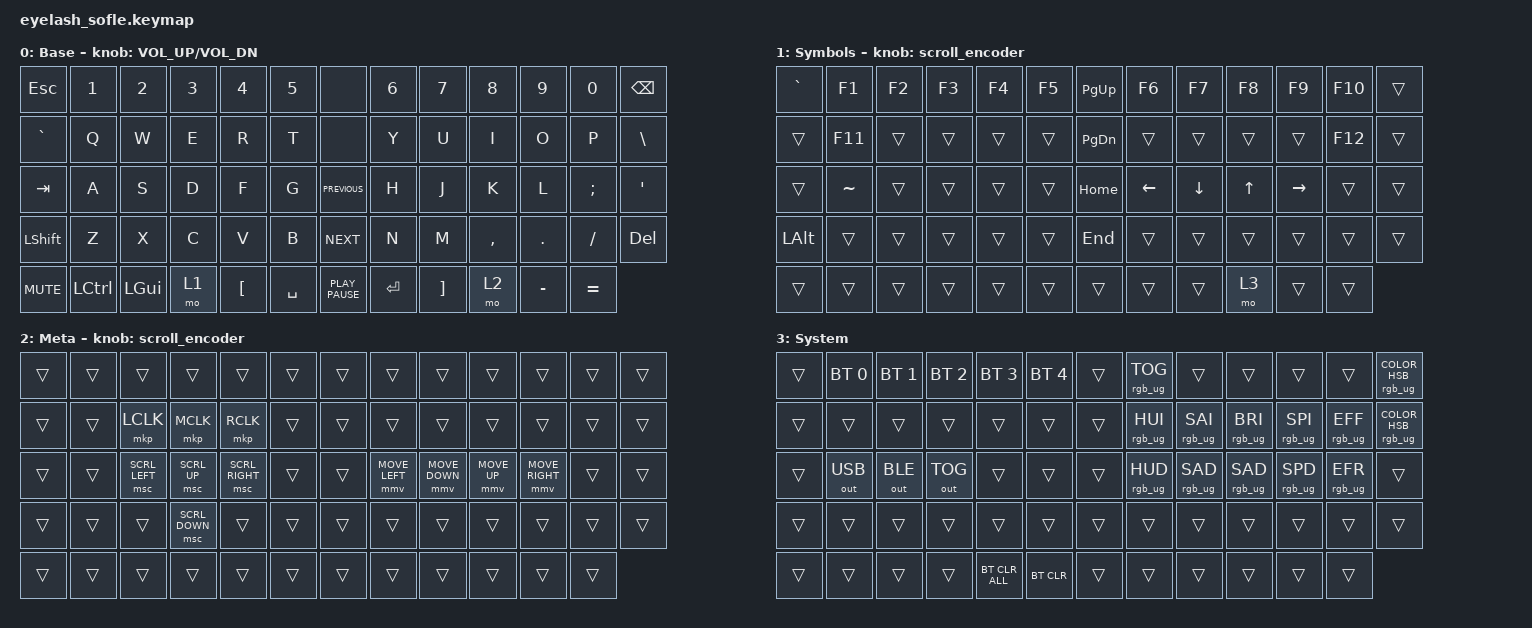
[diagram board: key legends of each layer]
#define ZMK_POINTING_DEFAULT_MOVE_VAL 1200  // 600
#define ZMK_POINTING_DEFAULT_SCRL_VAL 25    // 10

#include <input/processors.dtsi>
#include <zephyr/dt-bindings/input/input-event-codes.h>
#include <behaviors.dtsi>
#include <dt-bindings/zmk/bt.h>
#include <dt-bindings/zmk/keys.h>
#include <dt-bindings/zmk/outputs.h>
#include <dt-bindings/zmk/pointing.h>
#include <dt-bindings/zmk/rgb.h>

&mmv_input_listener { input-processors = <&zip_xy_scaler 2 1>; };

&msc_input_listener { input-processors = <&zip_scroll_scaler 2 1>; };

&msc {
    acceleration-exponent = <1>;      // 0
    time-to-max-speed-ms = <100>;       // 300
    delay-ms = <0>;                   // 0
};

&mmv {
    time-to-max-speed-ms = <500>;
    acceleration-exponent = <1>;
    trigger-period-ms = <16>;
};

/ {
    scroll_encoder: scroll_encoder {
        compatible = "zmk,behavior-sensor-rotate";
        #sensor-binding-cells = <0>;
        bindings = <&msc SCRL_DOWN>, <&msc SCRL_UP>;

        tap-ms = <100>;
    };

    hold_tap: hold_tap {
        compatible = "zmk,behavior-hold-tap";
        label = "HOLD_TAP";
        bindings = <&kp>, <&kp>;

        #binding-cells = <2>;
        flavor = "tap-preferred";
        tapping-term-ms = <250>;
    };

    behaviors {
    };

    keymap {
        compatible = "zmk,keymap";

        Base {
            bindings = <
&kp ESC     &kp N1     &kp N2        &kp N3  &kp N4            &kp N5       &none             &kp N6     &kp N7             &kp N8     &kp N9     &kp N0     &kp BACKSPACE
&kp GRAVE   &kp Q      &kp W         &kp E   &kp R             &kp T        &none             &kp Y      &kp U              &kp I      &kp O      &kp P      &kp BSLH
&kp TAB     &kp A      &kp S         &kp D   &kp F             &kp G        &kp K_PREVIOUS    &kp H      &kp J              &kp K      &kp L      &kp SEMI   &kp APOS
&kp LSHFT   &kp Z      &kp X         &kp C   &kp V             &kp B        &kp K_NEXT        &kp N      &kp M              &kp COMMA  &kp DOT    &kp FSLH   &kp DELETE
&kp C_MUTE  &kp LCTRL  &kp LEFT_GUI  &mo 1   &kp LEFT_BRACKET  &kp SPACE    &kp K_PLAY_PAUSE  &kp ENTER  &kp RIGHT_BRACKET  &mo 2      &kp MINUS  &kp EQUAL
            >;

            sensor-bindings = <&inc_dec_kp C_VOLUME_UP C_VOL_DN>;
            display-name = "Base";
        };

        Symbols {
            bindings = <
&kp GRAVE     &kp F1     &kp F2  &kp F3  &kp F4  &kp F5    &kp PAGE_UP    &kp F6          &kp F7          &kp F8        &kp F9     &kp F10  &trans
&trans        &kp F11    &trans  &trans  &trans  &trans    &kp PAGE_DOWN  &trans          &trans          &trans        &trans     &kp F12  &trans
&trans        &kp TILDE  &trans  &trans  &trans  &trans    &kp HOME       &kp LEFT_ARROW  &kp DOWN_ARROW  &kp UP_ARROW  &kp RIGHT  &trans   &trans
&kp LEFT_ALT  &trans     &trans  &trans  &trans  &trans    &kp END        &trans          &trans          &trans        &trans     &trans   &trans
&trans        &trans     &trans  &trans  &trans  &trans    &trans         &trans          &trans          &mo 3         &trans     &trans
            >;

            display-name = "Symbols";
            sensor-bindings = <&scroll_encoder>;
        };

        Mouse {
            bindings = <
&trans  &trans  &trans          &trans          &trans           &trans    &trans  &trans          &trans          &trans        &trans           &trans  &trans
&trans  &trans  &mkp LCLK       &mkp MCLK       &mkp RCLK        &trans    &trans  &trans          &trans          &trans        &trans           &trans  &trans
&trans  &trans  &msc SCRL_LEFT  &msc SCRL_UP    &msc SCRL_RIGHT  &trans    &trans  &mmv MOVE_LEFT  &mmv MOVE_DOWN  &mmv MOVE_UP  &mmv MOVE_RIGHT  &trans  &trans
&trans  &trans  &trans          &msc SCRL_DOWN  &trans           &trans    &trans  &trans          &trans          &trans        &trans           &trans  &trans
&trans  &trans  &trans          &trans          &trans           &trans    &trans  &trans          &trans          &trans        &trans           &trans
            >;

            sensor-bindings = <&scroll_encoder>;
            label = "Meta";
        };

        System {
            bindings = <
&trans  &bt BT_SEL 0  &bt BT_SEL 1  &bt BT_SEL 2  &bt BT_SEL 3    &bt BT_SEL 4    &trans  &rgb_ug RGB_TOG  &trans           &trans           &trans           &trans           &rgb_ug RGB_COLOR_HSB(0,0,100)
&trans  &trans        &trans        &trans        &trans          &trans          &trans  &rgb_ug RGB_HUI  &rgb_ug RGB_SAI  &rgb_ug RGB_BRI  &rgb_ug RGB_SPI  &rgb_ug RGB_EFF  &rgb_ug RGB_COLOR_HSB(19,100,33)
&trans  &out OUT_USB  &out OUT_BLE  &out OUT_TOG  &trans          &trans          &trans  &rgb_ug RGB_HUD  &rgb_ug RGB_SAD  &rgb_ug RGB_SAD  &rgb_ug RGB_SPD  &rgb_ug RGB_EFR  &trans
&trans  &trans        &trans        &trans        &trans          &trans          &trans  &trans           &trans           &trans           &trans           &trans           &trans
&trans  &trans        &trans        &trans        &bt BT_CLR_ALL  &bt BT_CLR      &trans  &trans           &trans           &trans           &trans           &trans
            >;
        };
    };
};
